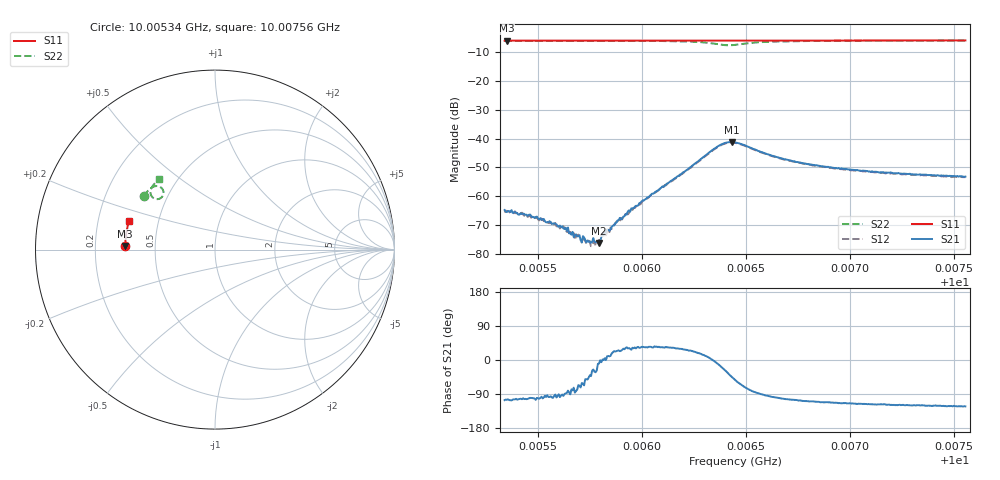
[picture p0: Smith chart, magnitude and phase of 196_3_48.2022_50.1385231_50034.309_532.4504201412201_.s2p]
#  HZ  S  RI  R  50.00
! Rohde & Schwarz Vector Network Analyzer
! Rohde-Schwarz,ZNB20-2Port,1311601062101988,3.16
! Created: UTC 3/20/2024, 11:44:51 AM
! freq[Hz]  re:S11  im:S11  re:S21  im:S21  re:S12  im:S12  re:S22  im:S22
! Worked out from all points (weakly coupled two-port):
!   401 points, 10.00534 GHz to 10.00756 GHz, reference 50 ohm
!   highest |S21| = -41.18 dB at 10.00643 GHz (marker M1); lowest = -76.3 dB at 10.00579 GHz (marker M2)
!   lowest |S11| = -6.0 dB at 10.00535 GHz (marker M3), VSWR 3.00, Z = 16.7 + j0.905 ohm
!   |S11| at or under -10 dB: nowhere
!   |S22| runs from -7.6 to -6.0 dB; largest |S21 - S12| = 0.00051
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1.000534e10  -0.5001 0.0197  -0.000158 -0.000555  -0.000104 -0.000512  -0.3964 0.2979
1.0005351e10  -0.4999 0.0204  -0.000137 -0.000516  -0.000128 -0.000543  -0.396 0.2988
1.0005456e10  -0.4998 0.0271  -9.46e-05 -0.000466  -8.21e-05 -0.000445  -0.3915 0.305
1.0005567e10  -0.4997 0.0343  -5.11e-05 -0.000331  -2.95e-05 -0.000328  -0.3866 0.3118
1.0005623e10  -0.4995 0.038  -2.34e-05 -0.000276  2.96e-05 -0.000299  -0.3841 0.315
1.0005678e10  -0.4994 0.0417  1.43e-05 -0.000209  3.75e-05 -0.000171  -0.3814 0.3183
1.0005711e10  -0.4993 0.0437  7.58e-05 -0.000138  9.21e-05 -0.000169  -0.3797 0.3203
1.0005745e10  -0.4992 0.046  0.000113 -0.000118  0.000131 -0.000106  -0.3779 0.3226
1.0005767e10  -0.499 0.0475  0.000171 -7.98e-05  0.000134 -7.74e-05  -0.3767 0.324
1.0005794e10  -0.4988 0.0493  0.000152 -2.46e-05  0.00017 -4.01e-05  -0.3751 0.3259
1.0005822e10  -0.4986 0.0509  0.000236 1.96e-05  0.000244 1.27e-05  -0.3735 0.3275
1.0005855e10  -0.4986 0.0533  0.00028 8.75e-05  0.000255 9.44e-05  -0.3714 0.3295
1.0005883e10  -0.4984 0.0551  0.000345 0.000158  0.000338 0.000145  -0.3695 0.3314
1.0005972e10  -0.4979 0.0607  0.000588 0.000349  0.000523 0.000407  -0.3634 0.3376
1.0006083e10  -0.4972 0.0679  0.00106 0.000743  0.00104 0.000772  -0.353 0.3453
1.000636e10  -0.4945 0.0856  0.00704 -0.000954  0.0069 -0.000564  -0.289 0.3293
1.0006432e10  -0.4938 0.0897  0.00627 -0.00607  0.00644 -0.00565  -0.3047 0.2859
1.0006448e10  -0.4936 0.0905  0.00522 -0.00683  0.00551 -0.00641  -0.3152 0.2816
1.0006637e10  -0.4921 0.1027  -0.00071 -0.00488  -0.000478 -0.00484  -0.3594 0.3225
1.000682e10  -0.4901 0.1145  -0.00116 -0.00332  -0.000976 -0.00329  -0.3521 0.3469
1.0007191e10  -0.485 0.1378  -0.00119 -0.00227  -0.00107 -0.00225  -0.3325 0.3734
1.0007557e10  -0.4787 0.1605  -0.00118 -0.00185  -0.00105 -0.00187  -0.3136 0.3923
